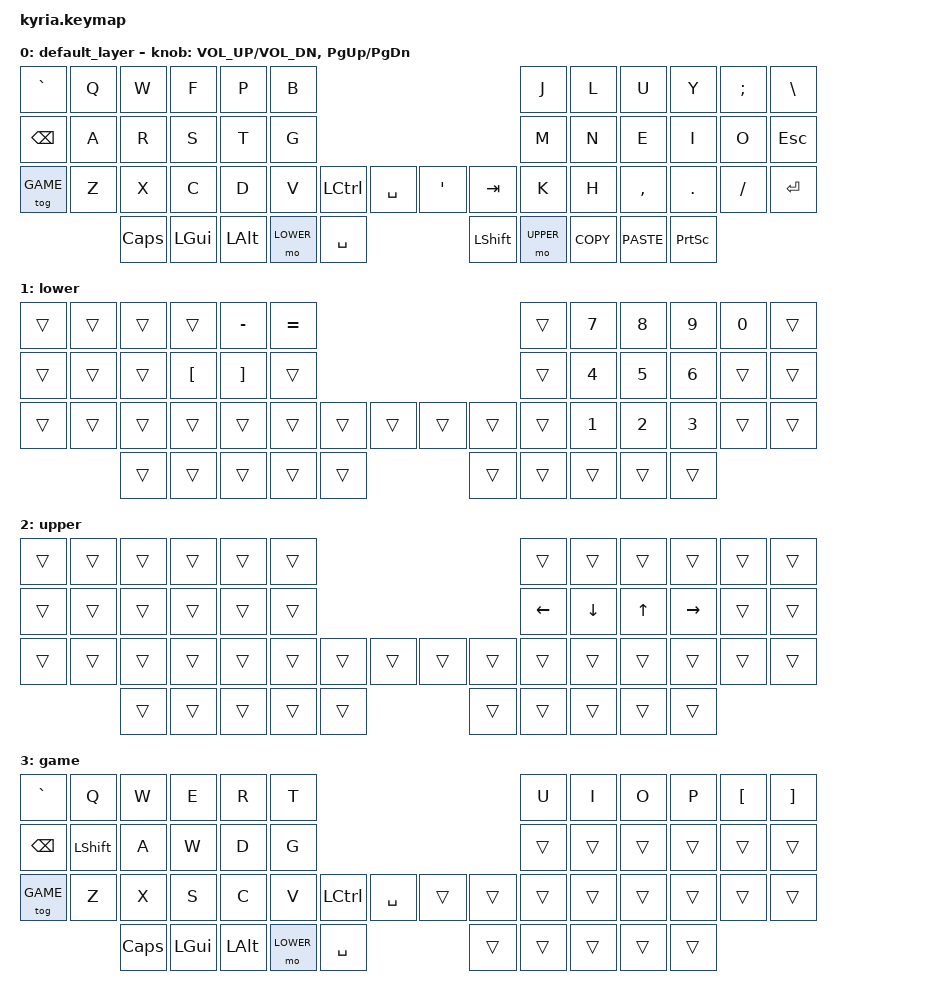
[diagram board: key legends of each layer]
/*
 * Copyright (c) 2020 The ZMK Contributors
 *
 * SPDX-License-Identifier: MIT
 */

#include <behaviors.dtsi>
#include <dt-bindings/zmk/keys.h>

#define DEFAULT 0
#define LOWER   1
#define UPPER   2
#define GAME	3

/ {
	keymap {
		compatible = "zmk,keymap";

		default_layer {
// ---------------------------------------------------------------------------------------------------------------------------------
// |  ` ~  |  Q  |  W  |  F   |  P   |  B   |                                          |  J   |  L    |  U    |  Y   |   ;   |   \  |
// | BKSPC |  A  |  R  |  S   |  T   |  G   |                                          |  M   |  N    |  E    |  I   |   O   | ESC  |
// | Game  |  Z  |  X  |  C   |  D   |  V   |  L CTRL |  SPACE  |  |   ' "   |   TAB   |  K   |  H    |  ,    |  .   |   /   | RET  |
//                     | CAPS | LGUI | LALT |   None  |  SPACE  |  |  SHIFT  |   None  |  0   |   1   |   4   |
			bindings = <
	&kp GRAVE &kp Q &kp W &kp F &kp P &kp B                                                 &kp J &kp L  &kp U     &kp Y   &kp SEMI &kp BSLH
	&kp BSPC  &kp A &kp R &kp S &kp T &kp G                                                 &kp M &kp N  &kp E     &kp I   &kp O    &kp ESC
	&tog GAME &kp Z &kp X &kp C &kp D &kp V &kp LCTRL &kp SPACE        &kp SQT     &kp TAB   &kp K &kp H  &kp COMMA &kp DOT &kp FSLH &kp RET
	                &kp CAPS &kp LGUI &kp LALT &mo LOWER &kp SPACE     &kp LSHFT  &mo UPPER  &kp K_COPY &kp K_PASTE  &kp PSCRN
			>;

			sensor-bindings = <&inc_dec_kp C_VOL_UP C_VOL_DN &inc_dec_kp PG_UP PG_DN>;
		};
		lower {
			bindings = <
	&trans &trans &trans &trans &kp MINUS &kp EQUAL						&trans &kp N7 &kp N8 &kp N9 &kp N0 &trans
	&trans &trans &trans &kp LBKT &kp RBKT &trans						&trans &kp N4 &kp N5 &kp N6 &trans &trans
	&trans &trans &trans &trans &trans &trans &trans &trans			  &trans &trans &trans &kp N1 &kp N2 &kp N3 &trans &trans
			     &trans &trans &trans &trans &trans			  &trans &trans &trans &trans &trans
			>;
		};
		upper {
			bindings = <
	&trans &trans &trans &trans &trans &trans						&trans &trans &trans &trans &trans &trans
	&trans &trans &trans &trans &trans &trans						&kp LEFT &kp DOWN &kp UP &kp RIGHT &trans &trans
	&trans &trans &trans &trans &trans &trans &trans &trans			  &trans &trans &trans &trans &trans &trans &trans &trans
			     &trans &trans &trans &trans &trans			  &trans &trans &trans &trans &trans
			>;
		};
		game {
			bindings = <
	&kp GRAVE &kp Q &kp W &kp E &kp R &kp T						&kp U &kp I &kp O &kp P &kp LBKT &kp RBKT
	&kp BSPC &kp LSHFT &kp A &kp W &kp D &kp G						&trans &trans &trans &trans &trans &trans
	&tog GAME &kp Z &kp X &kp S &kp C &kp V &kp LCTRL &kp SPACE			  &trans &trans &trans &trans &trans &trans &trans &trans
			     &kp CAPS &kp LGUI &kp LALT &mo LOWER &kp SPACE			  &trans &trans &trans &trans &trans
			>;
		};
	};
};
